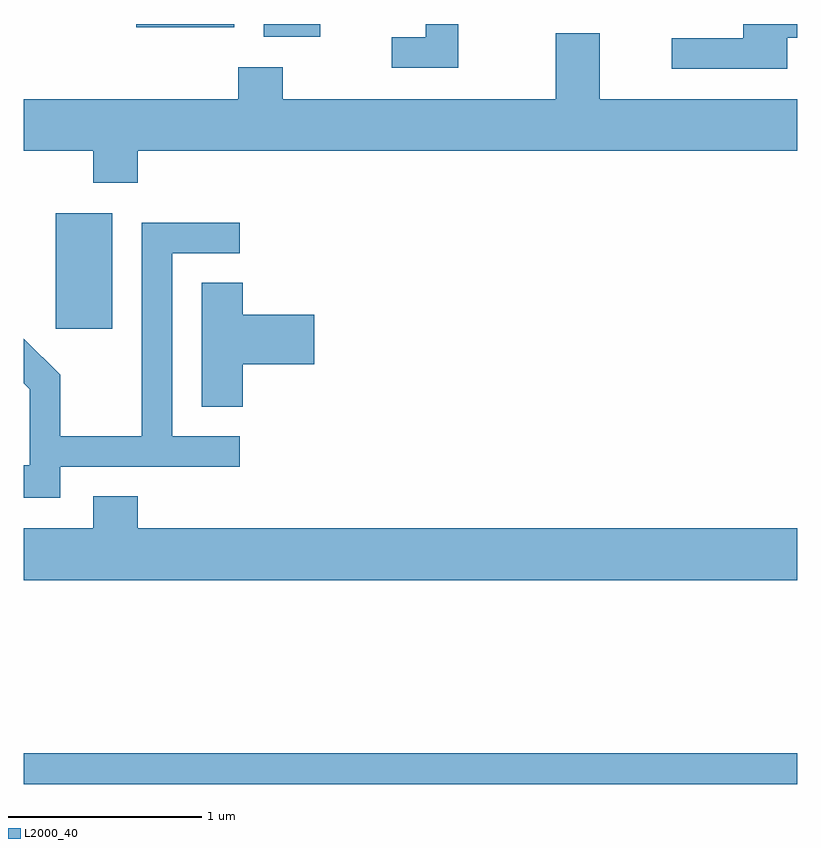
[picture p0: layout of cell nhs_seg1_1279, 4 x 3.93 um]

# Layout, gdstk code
import gdstk
lib = gdstk.Library(unit=1e-6, precision=1e-09)
def R(c, l, rs):  # rectangles x0, y0, x1, y1
    for r in rs: c.add(gdstk.rectangle(r[:2], r[2:], *l))
def P(c, l, *ps):  # polygons
    for p in ps: c.add(gdstk.Polygon(p, *l))
L2000_40 = (2000, 40)

nhs_seg1_1279 = lib.new_cell('nhs_seg1_1279')
R(nhs_seg1_1279, L2000_40, [(223.611,971.781,227.611,971.939), (223.776,974.136,224.069,974.734), (224.851,975.646,225.144,975.712), (224.193,975.696,224.699,975.712)])
P(nhs_seg1_1279, L2000_40, [(227.559,975.641),(227.611,975.641),(227.611,975.712),(227.331,975.712),(227.331,975.639),(226.963,975.639),(226.963,975.481),(227.559,975.481)],
  [(225.859,975.712),(225.691,975.712),(225.691,975.644),(225.513,975.644),(225.513,975.486),(225.859,975.486)],
  [(224.199,975.056),(227.611,975.056),(227.611,975.324),(226.589,975.324),(226.589,975.664),(226.361,975.664),(226.361,975.324),(224.949,975.324),(224.949,975.489),(224.721,975.489),(224.721,975.324),(223.611,975.324),(223.611,975.056),(223.971,975.056),(223.971,974.891),(224.199,974.891)],
  [(223.799,973.421),(224.728,973.421),(224.728,973.579),(224.379,973.579),(224.379,974.526),(224.728,974.526),(224.728,974.684),(224.221,974.684),(224.221,973.579),(223.799,973.579),(223.799,973.897),(223.611,974.085),(223.611,973.854),(223.641,973.824),(223.641,973.429),(223.611,973.429),(223.611,973.261),(223.799,973.261)],
  [(224.744,973.951),(225.114,973.951),(225.114,974.209),(224.744,974.209),(224.744,974.374),(224.531,974.374),(224.531,973.731),(224.744,973.731)],
  [(227.611,973.104),(224.199,973.104),(224.199,973.269),(223.971,973.269),(223.971,973.104),(223.611,973.104),(223.611,972.836),(227.611,972.836)])

lib.write_gds('nhs_seg1_1279.gds')
